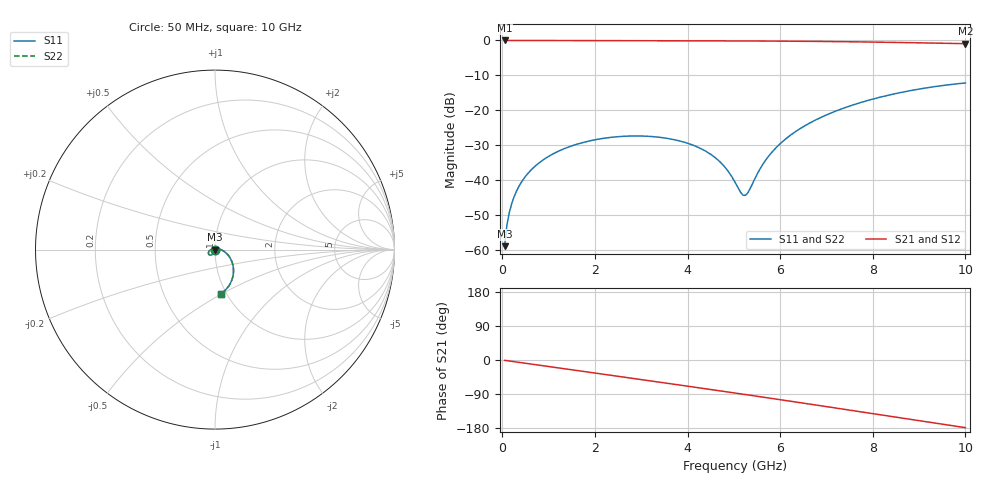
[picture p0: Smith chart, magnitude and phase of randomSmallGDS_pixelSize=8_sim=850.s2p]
! freq	dB(S11)	phase(S11)	dB(S12)	phase(S12)
!  dB(S21)	phase(S21)	dB(S22)	phase(S22)
!S-par simulation data
#  GHz  S  DB  R 50
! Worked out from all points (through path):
!   200 points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, 50 MHz to 10 GHz, reference 50 ohm
!   highest |S21| = 0.00 dB at 50 MHz (marker M1); lowest = -0.9 dB at 10 GHz (marker M2)
!   group delay of S21, straight-line fit = 49.6 ps
!   lowest |S11| = -58.8 dB at 50 MHz (marker M3), VSWR 1.00, Z = 50 - j0.115 ohm
!   |S11| at or under -10 dB: start of sweep to end of sweep
!   |S22| runs from -58.8 to -12.1 dB; largest |S21 - S12| = 0
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0.05  -58.77 -89.6  -0.00 -0.9  -0.00 -0.9  -58.77 -89.6
0.1  -52.75 -91.2  -0.00 -1.7  -0.00 -1.7  -52.75 -91.2
0.2  -46.74 -93.4  -0.00 -3.5  -0.00 -3.5  -46.74 -93.4
0.35  -41.91 -96.4  -0.01 -6.1  -0.01 -6.1  -41.91 -96.4
0.5  -38.85 -99.2  -0.01 -8.7  -0.01 -8.7  -38.85 -99.2
1  -33.12 -108.3  -0.02 -17.2  -0.02 -17.2  -33.12 -108.4
1.75  -29.13 -121.9  -0.04 -30.1  -0.04 -30.1  -29.13 -121.9
2.55  -27.43 -136.4  -0.06 -43.9  -0.06 -43.9  -27.43 -136.5
3.4  -27.67 -152.5  -0.08 -58.6  -0.08 -58.6  -27.67 -152.5
4  -29.36 -165.2  -0.09 -69.0  -0.09 -69.0  -29.36 -165.3
4.45  -32.09 -177.1  -0.11 -76.9  -0.11 -76.9  -32.09 -177.3
4.8  -36.08 168.0  -0.12 -83.1  -0.12 -83.1  -36.07 167.7
5.05  -41.10 142.9  -0.13 -87.6  -0.13 -87.6  -41.06 142.4
5.15  -43.47 119.8  -0.13 -89.4  -0.13 -89.4  -43.37 119.4
5.25  -44.26 85.3  -0.14 -91.2  -0.14 -91.2  -44.13 85.3
5.6  -35.93 18.4  -0.16 -97.4  -0.16 -97.4  -35.90 18.7
5.85  -31.51 4.7  -0.18 -102.0  -0.18 -102.0  -31.49 4.9
6.2  -27.29 -6.8  -0.21 -108.3  -0.21 -108.3  -27.28 -6.6
6.7  -23.16 -19.0  -0.26 -117.5  -0.26 -117.5  -23.16 -18.8
7.45  -18.97 -34.5  -0.36 -131.3  -0.36 -131.3  -18.97 -34.4
8.35  -15.60 -51.9  -0.53 -148.0  -0.53 -148.0  -15.60 -51.8
10  -12.14 -82.0  -0.92 -178.5  -0.92 -178.5  -12.14 -81.9
